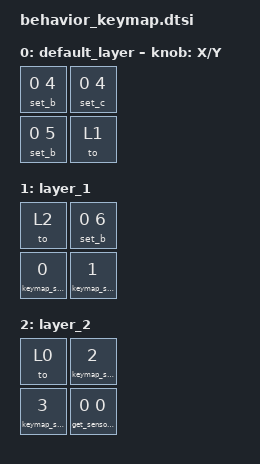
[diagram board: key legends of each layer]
#include <dt-bindings/zmk/keys.h>
#include <behaviors.dtsi>
#include <dt-bindings/zmk/kscan_mock.h>

/ {
    behaviors {
        set_b: set_b {
            compatible = "zmk,behavior-set-layer-binding-at-idx";
            #binding-cells = <2>;
            bindings = <&kp B>;
        };

        set_c: set_c {
            compatible = "zmk,behavior-set-layer-binding-at-idx";
            #binding-cells = <2>;
            bindings = <&kp C>;
        };

        keymap_settings: keymap_settings {
            compatible = "zmk,behavior-keymap-settings";
            #binding-cells = <1>;
        };

        get_sensor_binding: get_sensor_binding {
            compatible = "zmk,behavior-get-sensor-binding";
            #binding-cells = <2>;
        };
    };

    keymap {
        compatible = "zmk,keymap";

        // 2x2 matrix, so ZMK_KEYMAP_LEN is 4. With one encoder, the virtual
        // encoder slots are 4 (CW) and 5 (CCW); 6 is out of range.
        default_layer {
            bindings = <
                &set_b 0 4 &set_c 0 4
                &set_b 0 5 &to 1
            >;
            sensor-bindings = <&inc_dec_kp X Y>;
        };

        layer_1 {
            bindings = <
                &to 2 &set_b 0 6
                &keymap_settings 0 &keymap_settings 1
            >;
        };

        layer_2 {
            bindings = <
                &to 0 &keymap_settings 2
                &keymap_settings 3 &get_sensor_binding 0 0
            >;
        };
    };

    mock_encoder: mock_encoder {
        compatible = "zmk,sensor-encoder-mock";
        status = "okay";
        event-startup-delay = <800>;
        event-period = <400>;
    };

    sensors: sensors {
        compatible = "zmk,keymap-sensors";
        sensors = <&mock_encoder>;
        triggers-per-rotation = <20>;
    };
};
